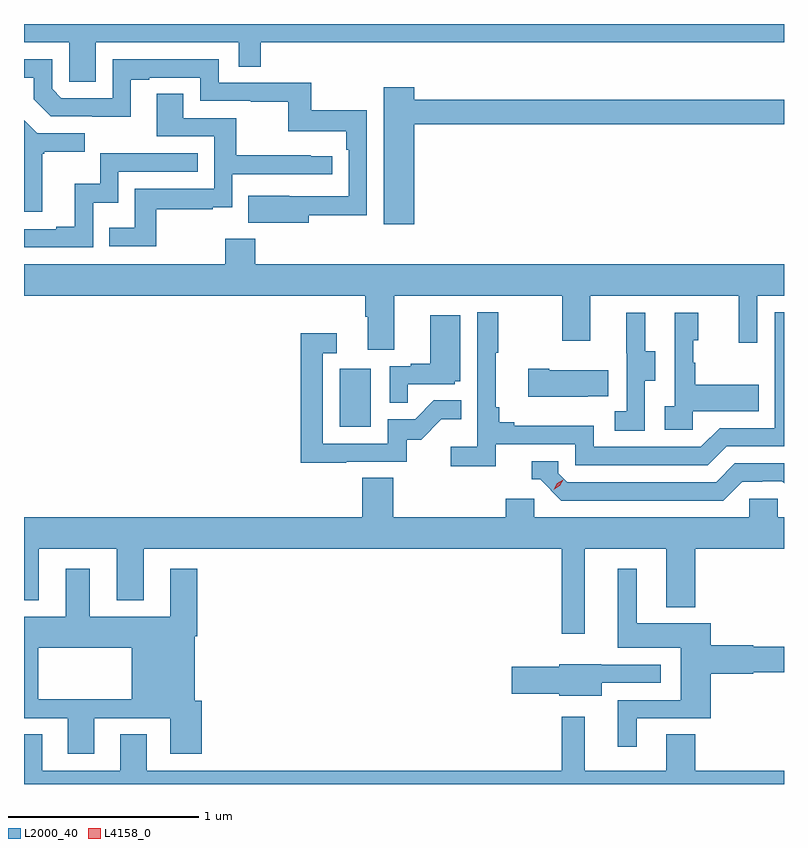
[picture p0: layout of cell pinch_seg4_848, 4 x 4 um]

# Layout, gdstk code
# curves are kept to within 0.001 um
import gdstk
lib = gdstk.Library(unit=1e-6, precision=1e-09)
def R(c, l, rs):  # rectangles x0, y0, x1, y1
    for r in rs: c.add(gdstk.rectangle(r[:2], r[2:], *l))
def P(c, l, *ps):  # polygons
    for p in ps: c.add(gdstk.Polygon(p, *l))
L2000_40 = (2000, 40)
L4158_0 = (4158, 0)

pinch_seg4_848 = lib.new_cell('pinch_seg4_848')
R(pinch_seg4_848, L2000_40, [(868.394,802.788,868.558,803.095)])
P(pinch_seg4_848, L2000_40, [(867.109,804.812),(867.861,804.812),(867.861,804.685),(867.977,804.685),(867.977,804.812),(870.732,804.812),(870.732,804.909),(866.732,804.909),(866.732,804.812),(866.97,804.812),(866.97,804.604),(867.109,804.604)],
  [(868.231,803.902),(868.536,803.902),(868.536,804.454),(868.243,804.454),(868.243,804.6),(867.756,804.6),(867.756,804.723),(867.198,804.723),(867.198,804.519),(866.928,804.519),(866.88,804.567),(866.88,804.723),(866.732,804.723),(866.732,804.627),(866.784,804.627),(866.784,804.513),(866.874,804.423),(867.295,804.422),(867.295,804.615),(867.391,804.615),(867.391,804.627),(867.66,804.627),(867.66,804.504),(867.925,804.504),(867.925,804.499),(868.122,804.499),(868.122,804.344),(868.427,804.344),(868.427,804.248),(868.44,804.248),(868.44,804.003),(867.913,804.004),(867.913,803.864),(868.231,803.864)],
  [(868.786,804.382),(870.732,804.382),(870.732,804.511),(868.786,804.511),(868.786,804.577),(868.625,804.577),(868.625,803.856),(868.786,803.856)],
  [(867.427,803.934),(867.725,803.934),(867.725,803.945),(867.828,803.945),(867.828,804.117),(868.354,804.117),(868.354,804.213),(868.241,804.213),(868.241,804.218),(867.848,804.218),(867.848,804.414),(867.571,804.414),(867.571,804.542),(867.431,804.542),(867.431,804.318),(867.732,804.318),(867.732,804.042),(867.316,804.042),(867.316,803.836),(867.181,803.836),(867.181,803.739),(867.427,803.739)],
  [(866.827,804.225),(866.839,804.225),(866.839,804.236),(867.052,804.236),(867.052,804.333),(866.802,804.333),(866.732,804.403),(866.732,803.922),(866.827,803.922)],
  [(867.096,803.969),(867.228,803.969),(867.228,804.132),(867.647,804.132),(867.647,804.228),(867.132,804.228),(867.132,804.067),(866.999,804.067),(866.999,803.842),(866.903,803.842),(866.903,803.829),(866.732,803.829),(866.732,803.733),(867.096,803.733)],
  [(868.681,803.48),(869.566,803.48),(869.566,803.241),(869.713,803.241),(869.713,803.48),(870.494,803.48),(870.494,803.232),(870.591,803.232),(870.591,803.48),(870.732,803.48),(870.732,803.644),(867.95,803.644),(867.95,803.779),(867.79,803.779),(867.79,803.644),(866.732,803.644),(866.732,803.48),(868.529,803.48),(868.529,803.368),(868.541,803.368),(868.541,803.194),(868.681,803.194)],
  [(869.216,802.698),(869.634,802.698),(869.634,802.587),(870.331,802.587),(870.43,802.686),(870.732,802.686),(870.732,803.391),(870.684,803.391),(870.684,802.782),(870.393,802.782),(870.294,802.683),(869.73,802.683),(869.73,802.795),(869.311,802.795),(869.311,802.814),(869.234,802.814),(869.234,802.891),(869.215,802.891),(869.215,803.179),(869.227,803.179),(869.227,803.392),(869.118,803.392),(869.118,802.684),(868.977,802.684),(868.977,802.582),(869.216,802.582)],
  [(870.252,802.871),(870.599,802.871),(870.599,803.011),(870.265,803.011),(870.265,803.126),(870.255,803.126),(870.255,803.244),(870.28,803.244),(870.28,803.389),(870.156,803.389),(870.156,802.898),(870.105,802.898),(870.105,802.773),(870.252,802.773)],
  [(870,803.032),(870.055,803.032),(870.055,803.187),(870.001,803.187),(870.001,803.389),(869.903,803.389),(869.903,803.175),(869.904,803.175),(869.904,802.871),(869.841,802.871),(869.841,802.768),(870,802.768)],
  [(868.751,803.013),(868.998,803.013),(868.998,803.028),(869.029,803.028),(869.029,803.377),(868.871,803.377),(868.871,803.122),(868.767,803.122),(868.767,803.109),(868.656,803.109),(868.656,802.915),(868.751,802.915)],
  [(868.427,802.605),(868.746,802.605),(868.746,802.722),(868.822,802.722),(868.929,802.829),(869.033,802.829),(869.033,802.928),(868.889,802.928),(868.791,802.83),(868.647,802.83),(868.647,802.701),(868.305,802.701),(868.305,803.175),(868.378,803.175),(868.378,803.281),(868.189,803.281),(868.189,802.6),(868.427,802.6)],
  [(869.699,802.949),(869.807,802.949),(869.807,803.086),(869.497,803.086),(869.497,803.094),(869.385,803.094),(869.385,802.946),(869.699,802.946)],
  [(870.511,802.5),(870.618,802.5),(870.618,802.503),(870.721,802.503),(870.732,802.492),(870.732,802.596),(870.474,802.596),(870.375,802.497),(869.592,802.497),(869.544,802.545),(869.544,802.608),(869.405,802.608),(869.405,802.512),(869.448,802.512),(869.559,802.401),(870.412,802.401)],
  [(869.683,802.148),(870.113,802.148),(870.113,801.839),(870.266,801.839),(870.266,802.148),(870.732,802.148),(870.732,802.312),(870.699,802.312),(870.699,802.41),(870.549,802.41),(870.549,802.312),(869.418,802.312),(869.418,802.41),(869.267,802.41),(869.267,802.312),(868.676,802.312),(868.676,802.52),(868.511,802.52),(868.511,802.312),(866.732,802.312),(866.732,801.875),(866.809,801.875),(866.809,802.148),(867.221,802.148),(867.221,801.875),(867.361,801.875),(867.361,802.148),(869.562,802.148),(869.562,801.699),(869.683,801.699)],
  [(866.963,801.255),(866.963,801.069),(867.103,801.069),(867.103,801.255),(867.503,801.255),(867.503,801.069),(867.668,801.069),(867.668,801.348),(867.631,801.348),(867.631,801.686),(867.644,801.686),(867.644,802.042),(867.503,802.042),(867.503,801.79),(867.079,801.79),(867.079,802.042),(866.951,802.042),(866.951,801.79),(866.732,801.79),(866.732,801.356),(866.808,801.356),(866.808,801.626),(867.299,801.626),(867.299,801.356),(866.808,801.356),(866.732,801.356),(866.732,801.255)],
  [(869.956,801.255),(870.347,801.255),(870.347,801.488),(870.57,801.488),(870.57,801.496),(870.732,801.496),(870.732,801.632),(870.57,801.632),(870.57,801.64),(870.347,801.64),(870.347,801.754),(869.956,801.754),(869.956,802.042),(869.858,802.042),(869.858,801.626),(870.188,801.626),(870.188,801.351),(869.858,801.351),(869.858,801.105),(869.956,801.105)],
  [(869.773,801.441),(870.082,801.441),(870.082,801.537),(869.769,801.537),(869.769,801.538),(869.55,801.538),(869.55,801.527),(869.298,801.527),(869.298,801.385),(869.55,801.385),(869.55,801.374),(869.773,801.374)],
  [(870.732,800.98),(870.266,800.98),(870.266,801.17),(870.113,801.17),(870.113,800.98),(869.683,800.98),(869.683,801.262),(869.562,801.262),(869.562,800.98),(867.379,800.98),(867.379,801.17),(867.239,801.17),(867.239,800.98),(866.827,800.98),(866.827,801.17),(866.732,801.17),(866.732,800.909),(870.732,800.909)])
P(pinch_seg4_848, L4158_0, [(869.521,802.459),(869.521,802.459),(869.538,802.491),(869.569,802.51),(869.569,802.51),(869.569,802.51),(869.552,802.478),(869.521,802.459)])

lib.write_gds('pinch_seg4_848.gds')
